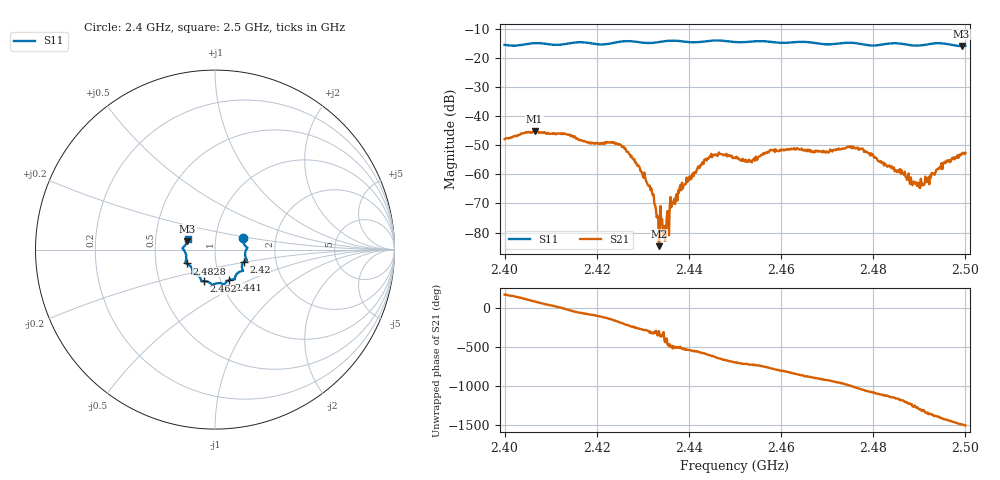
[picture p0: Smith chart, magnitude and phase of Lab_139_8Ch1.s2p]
# Hz S RI R 50
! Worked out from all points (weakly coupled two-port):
!   601 points, 2.4 GHz to 2.5 GHz, reference 50 ohm
!   highest |S21| = -45.11 dB at 2.4065 GHz (marker M1); lowest = -84.7 dB at 2.4335 GHz (marker M2)
!   lowest |S11| = -15.8 dB at 2.4992 GHz (marker M3), VSWR 1.38, Z = 36.5 + j3.65 ohm
!   |S11| at or under -10 dB: start of sweep to end of sweep
!   S12 and S22 are empty: the file has one direction only
!   S11 on the Smith chart (normalised r, x): 2.4 GHz: 1.36, +0.18; 2.42 GHz: 1.36, -0.20; 2.441 GHz: 1.10, -0.39; 2.462 GHz: 0.84, -0.30; 2.4828 GHz: 0.72, -0.11; 2.5 GHz: 0.73, +0.09
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2.4e9  0.1571 0.0631  -0.00396 0.000903  0 0  0 0
2.4065e9  0.1805 0.011  0.0012 0.00542  0 0  0 0
2.416667e9  0.1779 -0.0599  0.00145 -0.00363  0 0  0 0
2.42e9  0.1596 -0.0694  -0.000893 -0.00333  0 0  0 0
2.426333e9  0.1568 -0.1176  -0.00214 0.00162  0 0  0 0
2.431833e9  0.12 -0.1373  0.000451 0.000362  0 0  0 0
2.433333e9  0.1125 -0.1508  0.000139 0.000106  0 0  0 0
2.4335e9  0.1119 -0.1522  3.06e-05 4.96e-05  0 0  0 0
2.434667e9  0.1106 -0.161  8.45e-05 -9.79e-05  0 0  0 0
2.436333e9  0.1099 -0.1668  -0.000196 -0.000228  0 0  0 0
2.441e9  0.0786 -0.1696  -0.00087 0.000324  0 0  0 0
2.445e9  0.0534 -0.1928  -0.00033 0.00194  0 0  0 0
2.45e9  0.0286 -0.1871  0.00189 0.000497  0 0  0 0
2.453167e9  -0.00161 -0.1915  0.00165 -0.000261  0 0  0 0
2.462e9  -0.0602 -0.1757  -0.00108 -0.00244  0 0  0 0
2.466667e9  -0.0777 -0.1683  -0.00252 -0.000249  0 0  0 0
2.476167e9  -0.1259 -0.1302  0.00152 0.00235  0 0  0 0
2.482833e9  -0.1577 -0.0773  0.000913 -0.00112  0 0  0 0
2.483333e9  -0.1608 -0.0761  0.000703 -0.00122  0 0  0 0
2.4905e9  -0.165 -0.017  -0.000297 0.000577  0 0  0 0
2.499167e9  -0.1539 0.0487  0.00126 -0.00178  0 0  0 0
2.5e9  -0.1515 0.0609  0.000788 -0.00221  0 0  0 0
